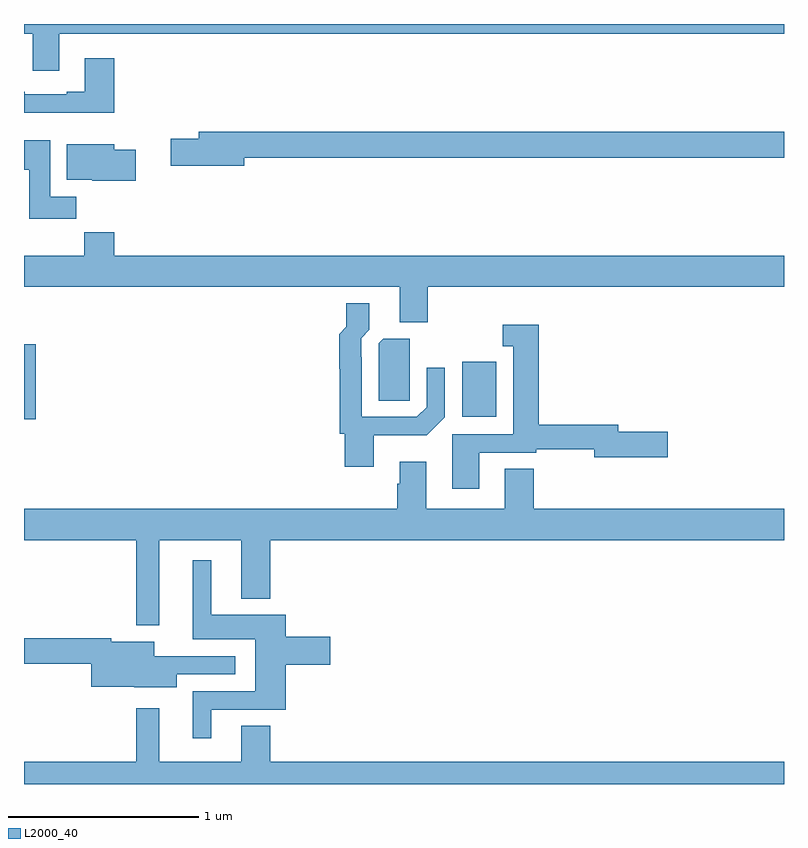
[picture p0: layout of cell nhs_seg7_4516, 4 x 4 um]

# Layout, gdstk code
import gdstk
lib = gdstk.Library(unit=1e-6, precision=1e-09)
def R(c, l, rs):  # rectangles x0, y0, x1, y1
    for r in rs: c.add(gdstk.rectangle(r[:2], r[2:], *l))
def P(c, l, *ps):  # polygons
    for p in ps: c.add(gdstk.Polygon(p, *l))
L2000_40 = (2000, 40)

nhs_seg7_4516 = lib.new_cell('nhs_seg7_4516')
R(nhs_seg7_4516, L2000_40, [(395,999.921,395.063,1000.315), (397.307,999.932,397.486,1000.222)])
P(nhs_seg7_4516, L2000_40, [(395.185,1001.948),(399,1001.948),(399,1002),(395,1002),(395,1001.948),(395.045,1001.948),(395.045,1001.754),(395.185,1001.754)],
  [(395.474,1001.821),(395.321,1001.821),(395.321,1001.644),(395.225,1001.644),(395.225,1001.631),(395.005,1001.631),(395.005,1001.644),(395,1001.644),(395,1001.534),(395.474,1001.534)],
  [(396.16,1001.296),(399,1001.296),(399,1001.432),(395.921,1001.432),(395.921,1001.396),(395.772,1001.396),(395.772,1001.254),(396.16,1001.254)],
  [(395.276,1001.092),(395.137,1001.092),(395.137,1001.389),(395,1001.389),(395,1001.233),(395.027,1001.233),(395.027,1000.974),(395.276,1000.974)],
  [(395.587,1001.338),(395.476,1001.338),(395.476,1001.368),(395.225,1001.368),(395.225,1001.18),(395.358,1001.18),(395.358,1001.174),(395.587,1001.174)],
  [(397.125,1000.616),(399,1000.616),(399,1000.78),(395.474,1000.78),(395.474,1000.904),(395.317,1000.904),(395.317,1000.78),(395,1000.78),(395,1000.616),(396.977,1000.616),(396.977,1000.429),(397.125,1000.429)],
  [(396.841,999.836),(397.121,999.836),(397.215,999.93),(397.215,1000.192),(397.119,1000.192),(397.119,999.984),(397.068,999.933),(396.777,999.933),(396.777,1000.247),(396.774,1000.247),(396.774,1000.347),(396.817,1000.39),(396.817,1000.531),(396.697,1000.531),(396.697,1000.407),(396.659,1000.368),(396.659,1000.186),(396.661,1000.186),(396.661,999.843),(396.689,999.843),(396.689,999.669),(396.841,999.669)],
  [(397.396,999.744),(397.696,999.744),(397.696,999.762),(398,999.762),(398,999.719),(398.389,999.719),(398.389,999.854),(398.128,999.854),(398.128,999.89),(397.709,999.89),(397.709,1000.417),(397.521,1000.417),(397.521,1000.304),(397.574,1000.304),(397.574,999.84),(397.253,999.84),(397.253,999.555),(397.396,999.555)],
  [(397.029,1000.129),(397.03,1000.129),(397.03,1000.344),(396.891,1000.344),(396.867,1000.32),(396.867,1000.018),(397.029,1000.018)],
  [(395.713,999.284),(396.143,999.284),(396.143,998.975),(396.296,998.975),(396.296,999.284),(399,999.284),(399,999.448),(397.682,999.448),(397.682,999.659),(397.529,999.659),(397.529,999.448),(397.117,999.448),(397.117,999.697),(396.977,999.697),(396.977,999.581),(396.965,999.581),(396.965,999.448),(395,999.448),(395,999.284),(395.592,999.284),(395.592,998.835),(395.713,998.835)],
  [(395.986,998.391),(396.377,998.391),(396.377,998.627),(396.613,998.627),(396.613,998.774),(396.377,998.774),(396.377,998.89),(395.986,998.89),(395.986,999.178),(395.888,999.178),(395.888,998.762),(396.218,998.762),(396.218,998.487),(395.888,998.487),(395.888,998.241),(395.986,998.241)],
  [(395.803,998.577),(396.112,998.577),(396.112,998.673),(395.686,998.673),(395.686,998.749),(395.458,998.749),(395.458,998.768),(395,998.768),(395,998.632),(395.354,998.632),(395.354,998.513),(395.58,998.513),(395.58,998.51),(395.803,998.51)],
  [(399,998.116),(396.296,998.116),(396.296,998.306),(396.143,998.306),(396.143,998.116),(395.713,998.116),(395.713,998.398),(395.592,998.398),(395.592,998.116),(395,998.116),(395,998),(399,998)])

lib.write_gds('nhs_seg7_4516.gds')
